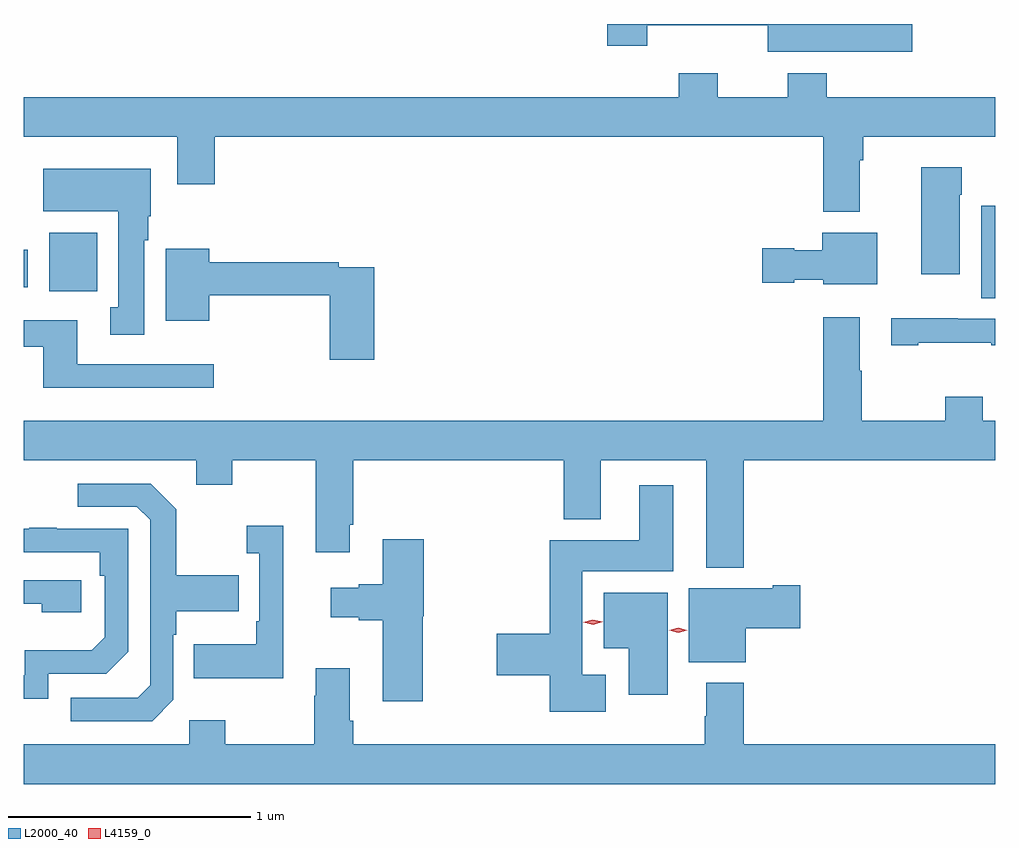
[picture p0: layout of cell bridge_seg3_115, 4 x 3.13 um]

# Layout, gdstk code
import gdstk
lib = gdstk.Library(unit=1e-6, precision=1e-09)
def R(c, l, rs):  # rectangles x0, y0, x1, y1
    for r in rs: c.add(gdstk.rectangle(r[:2], r[2:], *l))
def P(c, l, *ps):  # polygons
    for p in ps: c.add(gdstk.Polygon(p, *l))
L2000_40 = (2000, 40)
L4159_0 = (4159, 0)

bridge_seg3_115 = lib.new_cell('bridge_seg3_115')
R(bridge_seg3_115, L2000_40, [(279.68,741.544,279.738,741.925), (275.843,741.572,276.04,741.814), (275.738,741.59,275.755,741.744)])
P(bridge_seg3_115, L2000_40, [(279.397,742.673),(278.141,742.673),(278.141,742.584),(278.306,742.584),(278.306,742.667),(278.802,742.667),(278.802,742.559),(279.397,742.559)],
  [(279.029,741.899),(279.181,741.899),(279.181,742.112),(279.194,742.112),(279.194,742.208),(279.738,742.208),(279.738,742.372),(279.044,742.372),(279.044,742.471),(278.884,742.471),(278.884,742.372),(278.595,742.372),(278.595,742.471),(278.435,742.471),(278.435,742.372),(275.738,742.372),(275.738,742.208),(276.371,742.208),(276.371,742.014),(276.524,742.014),(276.524,742.208),(279.029,742.208)],
  [(279.592,741.971),(279.6,741.971),(279.6,742.084),(279.434,742.084),(279.434,741.642),(279.592,741.642)],
  [(276.235,741.782),(276.25,741.782),(276.25,741.882),(276.262,741.882),(276.262,742.078),(275.819,742.078),(275.819,741.902),(276.128,741.902),(276.128,741.506),(276.095,741.506),(276.095,741.393),(276.235,741.393)],
  [(279.253,741.814),(279.026,741.814),(279.026,741.742),(278.91,741.742),(278.91,741.75),(278.778,741.75),(278.778,741.608),(278.91,741.608),(278.91,741.62),(279.03,741.62),(279.03,741.602),(279.253,741.602)],
  [(277.181,741.672),(277.034,741.672),(277.034,741.692),(276.502,741.692),(276.502,741.748),(276.323,741.748),(276.323,741.452),(276.502,741.452),(276.502,741.556),(276.998,741.556),(276.998,741.291),(277.181,741.291)],
  [(278.702,740.876),(279.738,740.876),(279.738,741.04),(279.687,741.04),(279.687,741.139),(279.532,741.139),(279.532,741.04),(279.189,741.04),(279.189,741.245),(279.181,741.245),(279.181,741.466),(279.029,741.466),(279.029,741.04),(275.738,741.04),(275.738,740.876),(276.449,740.876),(276.449,740.777),(276.597,740.777),(276.597,740.876),(276.941,740.876),(276.941,740.499),(277.081,740.499),(277.081,740.611),(277.094,740.611),(277.094,740.876),(277.961,740.876),(277.961,740.633),(278.113,740.633),(278.113,740.876),(278.549,740.876),(278.549,740.435),(278.702,740.435)],
  [(279.421,741.361),(279.721,741.361),(279.721,741.351),(279.738,741.351),(279.738,741.459),(279.584,741.459),(279.584,741.461),(279.309,741.461),(279.309,741.351),(279.421,741.351)],
  [(276.52,741.273),(275.959,741.273),(275.959,741.454),(275.738,741.454),(275.738,741.345),(275.819,741.345),(275.819,741.176),(276.52,741.176)],
  [(276.354,739.89),(276.354,740.159),(276.367,740.159),(276.367,740.255),(276.623,740.255),(276.623,740.403),(276.367,740.403),(276.367,740.675),(276.261,740.781),(275.961,740.781),(275.961,740.685),(276.204,740.685),(276.258,740.631),(276.258,739.95),(276.207,739.899),(275.931,739.899),(275.931,739.803),(276.267,739.803)],
  [(278.134,739.993),(278.038,739.993),(278.038,740.42),(278.413,740.42),(278.413,740.773),(278.273,740.773),(278.273,740.548),(277.904,740.548),(277.904,740.162),(277.686,740.162),(277.686,739.991),(277.904,739.991),(277.904,739.841),(278.134,739.841)],
  [(276.806,740.608),(276.657,740.608),(276.657,740.495),(276.708,740.495),(276.708,740.215),(276.696,740.215),(276.696,740.119),(276.439,740.119),(276.439,739.979),(276.806,739.979)],
  [(275.838,739.998),(276.078,739.998),(276.168,740.088),(276.168,740.595),(275.873,740.595),(275.873,740.6),(275.761,740.6),(275.761,740.595),(275.738,740.595),(275.738,740.499),(276.052,740.499),(276.052,740.402),(276.072,740.402),(276.072,740.148),(276.019,740.095),(275.742,740.095),(275.742,739.992),(275.738,739.992),(275.738,739.896),(275.838,739.896)],
  [(277.38,740.235),(277.385,740.235),(277.385,740.551),(277.217,740.551),(277.217,740.366),(277.118,740.366),(277.118,740.353),(277.002,740.353),(277.002,740.231),(277.118,740.231),(277.118,740.219),(277.217,740.219),(277.217,739.884),(277.38,739.884)],
  [(275.974,740.382),(275.738,740.382),(275.738,740.286),(275.813,740.286),(275.813,740.252),(275.974,740.252)],
  [(278.71,740.185),(278.935,740.185),(278.935,740.363),(278.822,740.363),(278.822,740.35),(278.477,740.35),(278.477,740.045),(278.71,740.045)],
  [(278.389,740.332),(278.126,740.332),(278.126,740.102),(278.228,740.102),(278.228,739.911),(278.389,739.911)],
  [(279.738,739.708),(278.702,739.708),(278.702,739.96),(278.549,739.96),(278.549,739.823),(278.542,739.823),(278.542,739.708),(277.094,739.708),(277.094,739.804),(277.081,739.804),(277.081,740.02),(276.941,740.02),(276.941,739.907),(276.934,739.907),(276.934,739.708),(276.567,739.708),(276.567,739.807),(276.42,739.807),(276.42,739.708),(275.738,739.708),(275.738,739.544),(279.738,739.544)])
P(bridge_seg3_115, L4159_0, [(278.082,740.2),(278.042,740.209),(278.042,740.209),(278.042,740.209),(278.081,740.22),(278.121,740.212),(278.121,740.211),(278.121,740.211)],
  [(278.433,740.167),(278.395,740.177),(278.395,740.177),(278.395,740.178),(278.433,740.187),(278.47,740.178),(278.47,740.177),(278.47,740.177)])

lib.write_gds('bridge_seg3_115.gds')
